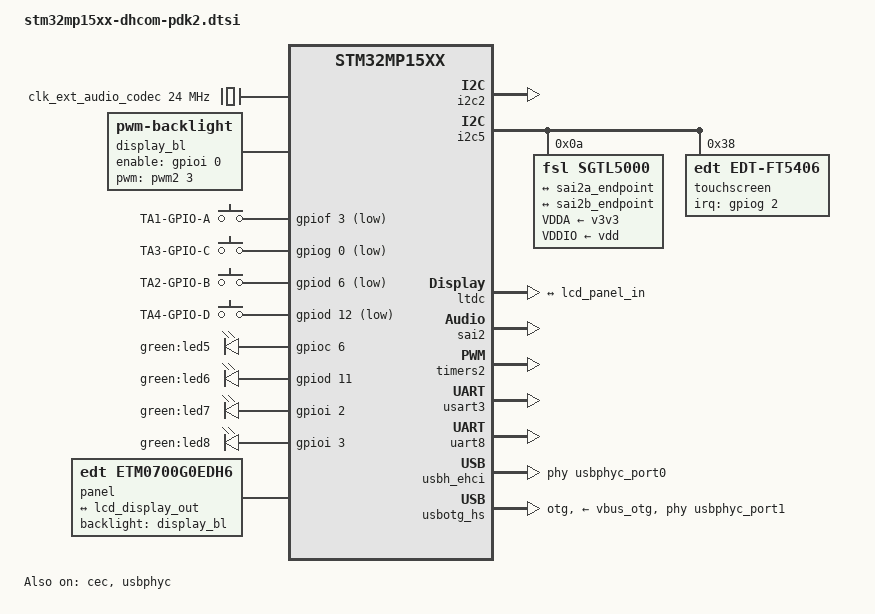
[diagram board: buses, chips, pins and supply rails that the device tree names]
// SPDX-License-Identifier: GPL-2.0+ OR BSD-3-Clause
/*
 * Copyright (C) 2019-2020 Marek Vasut <marex@denx.de>
 */

#include <dt-bindings/input/input.h>
#include <dt-bindings/pwm/pwm.h>

/ {
	aliases {
		serial0 = &uart4;
		serial1 = &usart3;
		serial2 = &uart8;
	};

	chosen {
		stdout-path = "serial0:115200n8";
	};

	clk_ext_audio_codec: clock-codec {
		compatible = "fixed-clock";
		#clock-cells = <0>;
		clock-frequency = <24000000>;
	};

	display_bl: display-bl {
		compatible = "pwm-backlight";
		pwms = <&pwm2 3 500000 PWM_POLARITY_INVERTED>;
		brightness-levels = <0 16 22 30 40 55 75 102 138 188 255>;
		default-brightness-level = <8>;
		enable-gpios = <&gpioi 0 GPIO_ACTIVE_HIGH>;
		status = "okay";
	};

	gpio-keys-polled {
		compatible = "gpio-keys-polled";
		poll-interval = <20>;

		/*
		 * The EXTi IRQ line 3 is shared with touchscreen and ethernet,
		 * so mark this as polled GPIO key.
		 */
		button-0 {
			label = "TA1-GPIO-A";
			linux,code = <KEY_A>;
			gpios = <&gpiof 3 GPIO_ACTIVE_LOW>;
		};

		/*
		 * The EXTi IRQ line 0 is shared with PMIC,
		 * so mark this as polled GPIO key.
		 */
		button-2 {
			label = "TA3-GPIO-C";
			linux,code = <KEY_C>;
			gpios = <&gpiog 0 GPIO_ACTIVE_LOW>;
		};
	};

	gpio-keys {
		compatible = "gpio-keys";

		button-1 {
			label = "TA2-GPIO-B";
			linux,code = <KEY_B>;
			gpios = <&gpiod 6 GPIO_ACTIVE_LOW>;
			wakeup-source;
		};

		button-3 {
			label = "TA4-GPIO-D";
			linux,code = <KEY_D>;
			gpios = <&gpiod 12 GPIO_ACTIVE_LOW>;
			wakeup-source;
		};
	};

	led {
		compatible = "gpio-leds";

		led-0 {
			label = "green:led5";
			gpios = <&gpioc 6 GPIO_ACTIVE_HIGH>;
			default-state = "off";
		};

		led-1 {
			label = "green:led6";
			gpios = <&gpiod 11 GPIO_ACTIVE_HIGH>;
			default-state = "off";
		};

		led-2 {
			label = "green:led7";
			gpios = <&gpioi 2 GPIO_ACTIVE_HIGH>;
			default-state = "off";
		};

		led-3 {
			label = "green:led8";
			gpios = <&gpioi 3 GPIO_ACTIVE_HIGH>;
			default-state = "off";
		};
	};

	panel {
		compatible = "edt,etm0700g0edh6";
		backlight = <&display_bl>;

		port {
			lcd_panel_in: endpoint {
				remote-endpoint = <&lcd_display_out>;
			};
		};
	};

	sound {
		compatible = "audio-graph-card";
		routing =
			"MIC_IN", "Capture",
			"Capture", "Mic Bias",
			"Playback", "HP_OUT";
		dais = <&sai2a_port &sai2b_port>;
		status = "okay";
	};
};

&cec {
	pinctrl-names = "default";
	pinctrl-0 = <&cec_pins_a>;
	status = "okay";
};

&i2c2 {	/* Header X22 */
	pinctrl-names = "default";
	pinctrl-0 = <&i2c2_pins_a>;
	i2c-scl-rising-time-ns = <185>;
	i2c-scl-falling-time-ns = <20>;
	status = "okay";
	/* spare dmas for other usage */
	/delete-property/dmas;
	/delete-property/dma-names;
	status = "okay";
};

&i2c5 {	/* Header X21 */
	pinctrl-names = "default";
	pinctrl-0 = <&i2c5_pins_a>;
	i2c-scl-rising-time-ns = <185>;
	i2c-scl-falling-time-ns = <20>;
	status = "okay";
	/* spare dmas for other usage */
	/delete-property/dmas;
	/delete-property/dma-names;

	sgtl5000: codec@a {
		compatible = "fsl,sgtl5000";
		reg = <0x0a>;
		#sound-dai-cells = <0>;
		clocks = <&clk_ext_audio_codec>;
		VDDA-supply = <&v3v3>;
		VDDIO-supply = <&vdd>;

		sgtl5000_port: port {
			#address-cells = <1>;
			#size-cells = <0>;

			sgtl5000_tx_endpoint: endpoint@0 {
				reg = <0>;
				remote-endpoint = <&sai2a_endpoint>;
				frame-master;
				bitclock-master;
			};

			sgtl5000_rx_endpoint: endpoint@1 {
				reg = <1>;
				remote-endpoint = <&sai2b_endpoint>;
				frame-master;
				bitclock-master;
			};
		};

	};

	touchscreen@38 {
		compatible = "edt,edt-ft5406";
		reg = <0x38>;
		interrupt-parent = <&gpiog>;
		interrupts = <2 IRQ_TYPE_EDGE_FALLING>; /* GPIO E */
	};
};

&ltdc {
	pinctrl-names = "default", "sleep";
	pinctrl-0 = <&ltdc_pins_b>;
	pinctrl-1 = <&ltdc_sleep_pins_b>;
	status = "okay";

	port {
		lcd_display_out: endpoint {
			remote-endpoint = <&lcd_panel_in>;
		};
	};
};

&sai2 {
	clocks = <&rcc SAI2>, <&rcc PLL3_Q>, <&rcc PLL3_R>;
	clock-names = "pclk", "x8k", "x11k";
	pinctrl-names = "default", "sleep";
	pinctrl-0 = <&sai2a_pins_b &sai2b_pins_b>;
	pinctrl-1 = <&sai2a_sleep_pins_b &sai2b_sleep_pins_b>;
	status = "okay";

	sai2a: audio-controller@4400b004 {
		#clock-cells = <0>;
		dma-names = "tx";
		clocks = <&rcc SAI2_K>;
		clock-names = "sai_ck";
		status = "okay";

		sai2a_port: port {
			sai2a_endpoint: endpoint {
				remote-endpoint = <&sgtl5000_tx_endpoint>;
				format = "i2s";
				mclk-fs = <512>;
				dai-tdm-slot-num = <2>;
				dai-tdm-slot-width = <16>;
			};
		};
	};

	sai2b: audio-controller@4400b024 {
		dma-names = "rx";
		st,sync = <&sai2a 2>;
		clocks = <&rcc SAI2_K>, <&sai2a>;
		clock-names = "sai_ck", "MCLK";
		status = "okay";

		sai2b_port: port {
			sai2b_endpoint: endpoint {
				remote-endpoint = <&sgtl5000_rx_endpoint>;
				format = "i2s";
				mclk-fs = <512>;
				dai-tdm-slot-num = <2>;
				dai-tdm-slot-width = <16>;
			};
		};
	};
};

&timers2 {
	/* spare dmas for other usage (un-delete to enable pwm capture) */
	/delete-property/dmas;
	/delete-property/dma-names;
	status = "okay";
	pwm2: pwm {
		pinctrl-0 = <&pwm2_pins_a>;
		pinctrl-names = "default";
		status = "okay";
	};
	timer@1 {
		status = "okay";
	};
};

&usart3 {
	pinctrl-names = "default";
	pinctrl-0 = <&usart3_pins_a>;
	status = "okay";
};

&uart8 {
	pinctrl-names = "default";
	pinctrl-0 = <&uart8_pins_a &uart8_rtscts_pins_a>;
	uart-has-rtscts;
	status = "okay";
};

&usbh_ehci {
	phys = <&usbphyc_port0>;
	status = "okay";
};

&usbotg_hs {
	dr_mode = "otg";
	pinctrl-0 = <&usbotg_hs_pins_a>;
	pinctrl-names = "default";
	phy-names = "usb2-phy";
	phys = <&usbphyc_port1 0>;
	vbus-supply = <&vbus_otg>;
	status = "okay";
};

&usbphyc {
	status = "okay";
};

&usbphyc_port0 {
	phy-supply = <&vdd_usb>;
	vdda1v1-supply = <&reg11>;
	vdda1v8-supply = <&reg18>;
};

&usbphyc_port1 {
	phy-supply = <&vdd_usb>;
	vdda1v1-supply = <&reg11>;
	vdda1v8-supply = <&reg18>;
};
